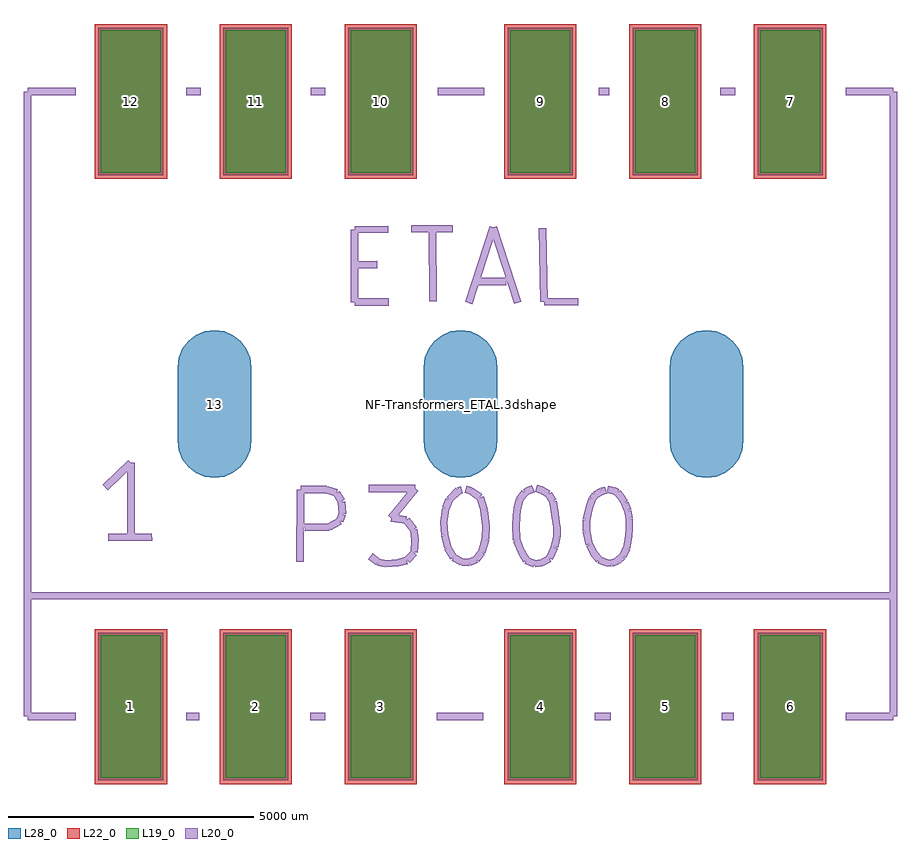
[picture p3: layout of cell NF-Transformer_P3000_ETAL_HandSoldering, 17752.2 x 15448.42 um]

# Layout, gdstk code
import gdstk
lib = gdstk.Library(unit=1e-6, precision=1e-09)
def R(c, l, rs):  # rectangles x0, y0, x1, y1
    for r in rs: c.add(gdstk.rectangle(r[:2], r[2:], *l))
def A(c, l, x, y, w, h, nx, ny, dx, dy):  # array of equal rectangles
    R(c, l, [(x+i*dx, y+j*dy, x+i*dx+w, y+j*dy+h) for i in range(nx) for j in range(ny)])
def P(c, l, *ps):  # polygons
    for p in ps: c.add(gdstk.Polygon(p, *l))
L19_0 = (19, 0)
L20_0 = (20, 0)
L22_0 = (22, 0)
L28_0 = (28, 0)

nf_transformer_p3000_eta = lib.new_cell('NF-Transformer_P3000_ETAL_HandSoldering')
A(nf_transformer_p3000_eta, L19_0, -7310.92, -7599.21, 1220.8, 2899.74, 3, 2, 2540, 12298.68)
A(nf_transformer_p3000_eta, L19_0, 1010.12, -7599.21, 1220.8, 2899.74, 3, 2, 2540, 12298.68)
A(nf_transformer_p3000_eta, L22_0, -7435.92, -7724.21, 1470.8, 3149.74, 3, 2, 2540, 12298.68)
A(nf_transformer_p3000_eta, L22_0, 885.12, -7724.21, 1470.8, 3149.74, 3, 2, 2540, 12298.68)
A(nf_transformer_p3000_eta, L28_0, -7360.92, -7649.21, 1320.8, 2999.74, 3, 2, 2540, 12298.68)
A(nf_transformer_p3000_eta, L28_0, 960.12, -7649.21, 1320.8, 2999.74, 3, 2, 2540, 12298.68)
P(nf_transformer_p3000_eta, L28_0, [(5001.26,-1499.87),(5195.522,-1474.295),(5376.545,-1399.313),(5531.993,-1280.033),(5651.273,-1124.585),(5726.255,-943.562),(5751.83,-749.3),(5751.83,749.3),(5726.255,943.562),(5651.273,1124.585),(5531.993,1280.033),(5376.545,1399.313),(5195.522,1474.295),(5001.26,1499.87),(4806.998,1474.295),(4625.975,1399.313),(4470.527,1280.033),(4351.247,1124.585),(4276.265,943.562),(4250.69,749.3),(4250.69,-749.3),(4276.265,-943.562),(4351.247,-1124.585),(4470.527,-1280.033),(4625.975,-1399.313),(4806.998,-1474.295)],
  [(0,-1499.87),(194.262,-1474.295),(375.285,-1399.313),(530.733,-1280.033),(650.013,-1124.585),(724.995,-943.562),(750.57,-749.3),(750.57,749.3),(724.995,943.562),(650.013,1124.585),(530.733,1280.033),(375.285,1399.313),(194.262,1474.295),(0,1499.87),(-194.262,1474.295),(-375.285,1399.313),(-530.733,1280.033),(-650.013,1124.585),(-724.995,943.562),(-750.57,749.3),(-750.57,-749.3),(-724.995,-943.562),(-650.013,-1124.585),(-530.733,-1280.033),(-375.285,-1399.313),(-194.262,-1474.295)],
  [(-5001.26,-1499.87),(-4806.998,-1474.295),(-4625.975,-1399.313),(-4470.527,-1280.033),(-4351.247,-1124.585),(-4276.265,-943.562),(-4250.69,-749.3),(-4250.69,749.3),(-4276.265,943.562),(-4351.247,1124.585),(-4470.527,1280.033),(-4625.975,1399.313),(-4806.998,1474.295),(-5001.26,1499.87),(-5195.522,1474.295),(-5376.545,1399.313),(-5531.993,1280.033),(-5651.273,1124.585),(-5726.255,943.562),(-5751.83,749.3),(-5751.83,-749.3),(-5726.255,-943.562),(-5651.273,-1124.585),(-5531.993,-1280.033),(-5376.545,-1399.313),(-5195.522,-1474.295)])
nf_transformer_p3000_eta.add(gdstk.FlexPath([(8801.1,6350),(8801.1,-6350)], 149.998, ends="flush", simple_path=True, layer=20, datatype=0))  # L20_0
nf_transformer_p3000_eta.add(gdstk.FlexPath([(8801.1,-6350),(7830.82,-6350)], 149.998, ends="flush", simple_path=True, layer=20, datatype=0))  # L20_0
nf_transformer_p3000_eta.add(gdstk.FlexPath([(8801.1,6350),(7830.82,6350)], 149.998, ends="flush", simple_path=True, layer=20, datatype=0))  # L20_0
nf_transformer_p3000_eta.add(gdstk.FlexPath([(5549.9,-6350),(5311.14,-6350)], 149.998, ends="flush", simple_path=True, layer=20, datatype=0))  # L20_0
nf_transformer_p3000_eta.add(gdstk.FlexPath([(3050.54,-6350),(2730.5,-6350)], 149.998, ends="flush", simple_path=True, layer=20, datatype=0))  # L20_0
nf_transformer_p3000_eta.add(gdstk.FlexPath([(459.74,-6350),(-480.06,-6350)], 149.998, ends="flush", simple_path=True, layer=20, datatype=0))  # L20_0
nf_transformer_p3000_eta.add(gdstk.FlexPath([(-2750.82,-6350),(-3050.54,-6350)], 149.998, ends="flush", simple_path=True, layer=20, datatype=0))  # L20_0
nf_transformer_p3000_eta.add(gdstk.FlexPath([(-5311.14,-6350),(-5570.22,-6350)], 149.998, ends="flush", simple_path=True, layer=20, datatype=0))  # L20_0
nf_transformer_p3000_eta.add(gdstk.FlexPath([(-7820.66,-6350),(-8801.1,-6350)], 149.998, ends="flush", simple_path=True, layer=20, datatype=0))  # L20_0
nf_transformer_p3000_eta.add(gdstk.FlexPath([(-8801.1,-6350),(-8801.1,6350)], 149.998, ends="flush", simple_path=True, layer=20, datatype=0))  # L20_0
nf_transformer_p3000_eta.add(gdstk.FlexPath([(-8801.1,6350),(-7820.66,6350)], 149.998, ends="flush", simple_path=True, layer=20, datatype=0))  # L20_0
nf_transformer_p3000_eta.add(gdstk.FlexPath([(-5570.22,6350),(-5280.66,6350)], 149.998, ends="flush", simple_path=True, layer=20, datatype=0))  # L20_0
nf_transformer_p3000_eta.add(gdstk.FlexPath([(-3040.38,6350),(-2750.82,6350)], 149.998, ends="flush", simple_path=True, layer=20, datatype=0))  # L20_0
nf_transformer_p3000_eta.add(gdstk.FlexPath([(-459.74,6350),(480.06,6350)], 149.998, ends="flush", simple_path=True, layer=20, datatype=0))  # L20_0
nf_transformer_p3000_eta.add(gdstk.FlexPath([(2809.24,6350),(3020.06,6350)], 149.998, ends="flush", simple_path=True, layer=20, datatype=0))  # L20_0
nf_transformer_p3000_eta.add(gdstk.FlexPath([(5280.66,6350),(5580.38,6350)], 149.998, ends="flush", simple_path=True, layer=20, datatype=0))  # L20_0
nf_transformer_p3000_eta.add(gdstk.FlexPath([(8801.1,-3898.9),(-8801.1,-3898.9)], 149.998, ends="flush", simple_path=True, layer=20, datatype=0))  # L20_0
nf_transformer_p3000_eta.add(gdstk.FlexPath([(-2151.38,2070.1),(-1460.5,2070.1)], 149.998, ends="flush", simple_path=True, layer=20, datatype=0))  # L20_0
nf_transformer_p3000_eta.add(gdstk.FlexPath([(-2151.38,3540.76),(-2151.38,2070.1)], 149.998, ends="flush", simple_path=True, layer=20, datatype=0))  # L20_0
nf_transformer_p3000_eta.add(gdstk.FlexPath([(-1470.66,3550.92),(-2151.38,3540.76)], 149.998, ends="flush", simple_path=True, layer=20, datatype=0))  # L20_0
nf_transformer_p3000_eta.add(gdstk.FlexPath([(-2151.38,2821.94),(-1691.64,2832.1)], 149.998, ends="flush", simple_path=True, layer=20, datatype=0))  # L20_0
nf_transformer_p3000_eta.add(gdstk.FlexPath([(-1000.76,3561.08),(-160.02,3561.08)], 149.998, ends="flush", simple_path=True, layer=20, datatype=0))  # L20_0
nf_transformer_p3000_eta.add(gdstk.FlexPath([(-571.5,3550.92),(-561.34,2090.42)], 149.998, ends="flush", simple_path=True, layer=20, datatype=0))  # L20_0
nf_transformer_p3000_eta.add(gdstk.FlexPath([(668.02,3591.56),(1168.4,2059.94)], 149.998, ends="flush", simple_path=True, layer=20, datatype=0))  # L20_0
nf_transformer_p3000_eta.add(gdstk.FlexPath([(170.18,2052.32),(668.02,3591.56)], 149.998, ends="flush", simple_path=True, layer=20, datatype=0))  # L20_0
nf_transformer_p3000_eta.add(gdstk.FlexPath([(340.36,2491.74),(929.64,2491.74)], 149.998, ends="flush", simple_path=True, layer=20, datatype=0))  # L20_0
nf_transformer_p3000_eta.add(gdstk.FlexPath([(1699.26,2080.26),(2390.14,2070.1)], 149.998, ends="flush", simple_path=True, layer=20, datatype=0))  # L20_0
nf_transformer_p3000_eta.add(gdstk.FlexPath([(1668.78,3571.24),(1699.26,2080.26)], 149.998, ends="flush", simple_path=True, layer=20, datatype=0))  # L20_0
nf_transformer_p3000_eta.add(gdstk.FlexPath([(-2669.54,-2499.36),(-3169.92,-2509.52)], 149.998, ends="flush", simple_path=True, layer=20, datatype=0))  # L20_0
nf_transformer_p3000_eta.add(gdstk.FlexPath([(-2451.1,-2379.98),(-2669.54,-2499.36)], 149.998, ends="flush", simple_path=True, layer=20, datatype=0))  # L20_0
nf_transformer_p3000_eta.add(gdstk.FlexPath([(-2400.3,-2240.28),(-2451.1,-2379.98)], 149.998, ends="flush", simple_path=True, layer=20, datatype=0))  # L20_0
nf_transformer_p3000_eta.add(gdstk.FlexPath([(-2420.62,-1978.66),(-2400.3,-2240.28)], 149.998, ends="flush", simple_path=True, layer=20, datatype=0))  # L20_0
nf_transformer_p3000_eta.add(gdstk.FlexPath([(-2519.68,-1808.48),(-2420.62,-1978.66)], 149.998, ends="flush", simple_path=True, layer=20, datatype=0))  # L20_0
nf_transformer_p3000_eta.add(gdstk.FlexPath([(-2720.34,-1739.9),(-2519.68,-1808.48)], 149.998, ends="flush", simple_path=True, layer=20, datatype=0))  # L20_0
nf_transformer_p3000_eta.add(gdstk.FlexPath([(-3251.2,-1739.9),(-2720.34,-1739.9)], 149.998, ends="flush", simple_path=True, layer=20, datatype=0))  # L20_0
nf_transformer_p3000_eta.add(gdstk.FlexPath([(-3261.36,-3208.02),(-3251.2,-1739.9)], 149.998, ends="flush", simple_path=True, layer=20, datatype=0))  # L20_0
nf_transformer_p3000_eta.add(gdstk.FlexPath([(-1671.32,-3218.18),(-1831.34,-3098.8)], 149.998, ends="flush", simple_path=True, layer=20, datatype=0))  # L20_0
nf_transformer_p3000_eta.add(gdstk.FlexPath([(-1511.3,-3248.66),(-1671.32,-3218.18)], 149.998, ends="flush", simple_path=True, layer=20, datatype=0))  # L20_0
nf_transformer_p3000_eta.add(gdstk.FlexPath([(-1270,-3228.34),(-1511.3,-3248.66)], 149.998, ends="flush", simple_path=True, layer=20, datatype=0))  # L20_0
nf_transformer_p3000_eta.add(gdstk.FlexPath([(-1089.66,-3180.08),(-1270,-3228.34)], 149.998, ends="flush", simple_path=True, layer=20, datatype=0))  # L20_0
nf_transformer_p3000_eta.add(gdstk.FlexPath([(-939.8,-3020.06),(-1089.66,-3180.08)], 149.998, ends="flush", simple_path=True, layer=20, datatype=0))  # L20_0
nf_transformer_p3000_eta.add(gdstk.FlexPath([(-922.02,-2758.44),(-939.8,-3020.06)], 149.998, ends="flush", simple_path=True, layer=20, datatype=0))  # L20_0
nf_transformer_p3000_eta.add(gdstk.FlexPath([(-949.96,-2550.16),(-922.02,-2758.44)], 149.998, ends="flush", simple_path=True, layer=20, datatype=0))  # L20_0
nf_transformer_p3000_eta.add(gdstk.FlexPath([(-1099.82,-2359.66),(-949.96,-2550.16)], 149.998, ends="flush", simple_path=True, layer=20, datatype=0))  # L20_0
nf_transformer_p3000_eta.add(gdstk.FlexPath([(-1409.7,-2319.02),(-1099.82,-2359.66)], 149.998, ends="flush", simple_path=True, layer=20, datatype=0))  # L20_0
nf_transformer_p3000_eta.add(gdstk.FlexPath([(-922.02,-1719.58),(-1409.7,-2319.02)], 149.998, ends="flush", simple_path=True, layer=20, datatype=0))  # L20_0
nf_transformer_p3000_eta.add(gdstk.FlexPath([(-1861.82,-1719.58),(-922.02,-1719.58)], 149.998, ends="flush", simple_path=True, layer=20, datatype=0))  # L20_0
nf_transformer_p3000_eta.add(gdstk.FlexPath([(-40.64,-1760.22),(27.94,-1739.9)], 149.998, ends="flush", simple_path=True, layer=20, datatype=0))  # L20_0
nf_transformer_p3000_eta.add(gdstk.FlexPath([(-231.14,-1948.18),(-40.64,-1760.22)], 149.998, ends="flush", simple_path=True, layer=20, datatype=0))  # L20_0
nf_transformer_p3000_eta.add(gdstk.FlexPath([(-299.72,-2118.36),(-231.14,-1948.18)], 149.998, ends="flush", simple_path=True, layer=20, datatype=0))  # L20_0
nf_transformer_p3000_eta.add(gdstk.FlexPath([(-340.36,-2400.3),(-299.72,-2118.36)], 149.998, ends="flush", simple_path=True, layer=20, datatype=0))  # L20_0
nf_transformer_p3000_eta.add(gdstk.FlexPath([(-320.04,-2659.38),(-340.36,-2400.3)], 149.998, ends="flush", simple_path=True, layer=20, datatype=0))  # L20_0
nf_transformer_p3000_eta.add(gdstk.FlexPath([(-261.62,-2918.46),(-320.04,-2659.38)], 149.998, ends="flush", simple_path=True, layer=20, datatype=0))  # L20_0
nf_transformer_p3000_eta.add(gdstk.FlexPath([(-139.7,-3119.12),(-261.62,-2918.46)], 149.998, ends="flush", simple_path=True, layer=20, datatype=0))  # L20_0
nf_transformer_p3000_eta.add(gdstk.FlexPath([(27.94,-3208.02),(-139.7,-3119.12)], 149.998, ends="flush", simple_path=True, layer=20, datatype=0))  # L20_0
nf_transformer_p3000_eta.add(gdstk.FlexPath([(180.34,-3218.18),(27.94,-3208.02)], 149.998, ends="flush", simple_path=True, layer=20, datatype=0))  # L20_0
nf_transformer_p3000_eta.add(gdstk.FlexPath([(320.04,-3159.76),(180.34,-3218.18)], 149.998, ends="flush", simple_path=True, layer=20, datatype=0))  # L20_0
nf_transformer_p3000_eta.add(gdstk.FlexPath([(429.26,-3009.9),(320.04,-3159.76)], 149.998, ends="flush", simple_path=True, layer=20, datatype=0))  # L20_0
nf_transformer_p3000_eta.add(gdstk.FlexPath([(508,-2748.28),(429.26,-3009.9)], 149.998, ends="flush", simple_path=True, layer=20, datatype=0))  # L20_0
nf_transformer_p3000_eta.add(gdstk.FlexPath([(518.16,-2468.88),(508,-2748.28)], 149.998, ends="flush", simple_path=True, layer=20, datatype=0))  # L20_0
nf_transformer_p3000_eta.add(gdstk.FlexPath([(480.06,-2159),(518.16,-2468.88)], 149.998, ends="flush", simple_path=True, layer=20, datatype=0))  # L20_0
nf_transformer_p3000_eta.add(gdstk.FlexPath([(398.78,-1899.92),(480.06,-2159)], 149.998, ends="flush", simple_path=True, layer=20, datatype=0))  # L20_0
nf_transformer_p3000_eta.add(gdstk.FlexPath([(208.28,-1760.22),(398.78,-1899.92)], 149.998, ends="flush", simple_path=True, layer=20, datatype=0))  # L20_0
nf_transformer_p3000_eta.add(gdstk.FlexPath([(109.22,-1729.74),(208.28,-1760.22)], 149.998, ends="flush", simple_path=True, layer=20, datatype=0))  # L20_0
nf_transformer_p3000_eta.add(gdstk.FlexPath([(1399.54,-1750.06),(1478.28,-1719.58)], 149.998, ends="flush", simple_path=True, layer=20, datatype=0))  # L20_0
nf_transformer_p3000_eta.add(gdstk.FlexPath([(1308.1,-1798.32),(1399.54,-1750.06)], 149.998, ends="flush", simple_path=True, layer=20, datatype=0))  # L20_0
nf_transformer_p3000_eta.add(gdstk.FlexPath([(1198.88,-1948.18),(1308.1,-1798.32)], 149.998, ends="flush", simple_path=True, layer=20, datatype=0))  # L20_0
nf_transformer_p3000_eta.add(gdstk.FlexPath([(1148.08,-2148.84),(1198.88,-1948.18)], 149.998, ends="flush", simple_path=True, layer=20, datatype=0))  # L20_0
nf_transformer_p3000_eta.add(gdstk.FlexPath([(1130.3,-2458.72),(1148.08,-2148.84)], 149.998, ends="flush", simple_path=True, layer=20, datatype=0))  # L20_0
nf_transformer_p3000_eta.add(gdstk.FlexPath([(1140.46,-2768.6),(1130.3,-2458.72)], 149.998, ends="flush", simple_path=True, layer=20, datatype=0))  # L20_0
nf_transformer_p3000_eta.add(gdstk.FlexPath([(1229.36,-2989.58),(1140.46,-2768.6)], 149.998, ends="flush", simple_path=True, layer=20, datatype=0))  # L20_0
nf_transformer_p3000_eta.add(gdstk.FlexPath([(1338.58,-3180.08),(1229.36,-2989.58)], 149.998, ends="flush", simple_path=True, layer=20, datatype=0))  # L20_0
nf_transformer_p3000_eta.add(gdstk.FlexPath([(1508.76,-3248.66),(1338.58,-3180.08)], 149.998, ends="flush", simple_path=True, layer=20, datatype=0))  # L20_0
nf_transformer_p3000_eta.add(gdstk.FlexPath([(1658.62,-3228.34),(1508.76,-3248.66)], 149.998, ends="flush", simple_path=True, layer=20, datatype=0))  # L20_0
nf_transformer_p3000_eta.add(gdstk.FlexPath([(1808.48,-3139.44),(1658.62,-3228.34)], 149.998, ends="flush", simple_path=True, layer=20, datatype=0))  # L20_0
nf_transformer_p3000_eta.add(gdstk.FlexPath([(1910.08,-2908.3),(1808.48,-3139.44)], 149.998, ends="flush", simple_path=True, layer=20, datatype=0))  # L20_0
nf_transformer_p3000_eta.add(gdstk.FlexPath([(1958.34,-2710.18),(1910.08,-2908.3)], 149.998, ends="flush", simple_path=True, layer=20, datatype=0))  # L20_0
nf_transformer_p3000_eta.add(gdstk.FlexPath([(1958.34,-2499.36),(1958.34,-2710.18)], 149.998, ends="flush", simple_path=True, layer=20, datatype=0))  # L20_0
nf_transformer_p3000_eta.add(gdstk.FlexPath([(1920.24,-2240.28),(1958.34,-2499.36)], 149.998, ends="flush", simple_path=True, layer=20, datatype=0))  # L20_0
nf_transformer_p3000_eta.add(gdstk.FlexPath([(1879.6,-1978.66),(1920.24,-2240.28)], 149.998, ends="flush", simple_path=True, layer=20, datatype=0))  # L20_0
nf_transformer_p3000_eta.add(gdstk.FlexPath([(1788.16,-1828.8),(1879.6,-1978.66)], 149.998, ends="flush", simple_path=True, layer=20, datatype=0))  # L20_0
nf_transformer_p3000_eta.add(gdstk.FlexPath([(1628.14,-1739.9),(1788.16,-1828.8)], 149.998, ends="flush", simple_path=True, layer=20, datatype=0))  # L20_0
nf_transformer_p3000_eta.add(gdstk.FlexPath([(1539.24,-1709.42),(1628.14,-1739.9)], 149.998, ends="flush", simple_path=True, layer=20, datatype=0))  # L20_0
nf_transformer_p3000_eta.add(gdstk.FlexPath([(2870.2,-1778),(2959.1,-1750.06)], 149.998, ends="flush", simple_path=True, layer=20, datatype=0))  # L20_0
nf_transformer_p3000_eta.add(gdstk.FlexPath([(2738.12,-1849.12),(2870.2,-1778)], 149.998, ends="flush", simple_path=True, layer=20, datatype=0))  # L20_0
nf_transformer_p3000_eta.add(gdstk.FlexPath([(2679.7,-1930.4),(2738.12,-1849.12)], 149.998, ends="flush", simple_path=True, layer=20, datatype=0))  # L20_0
nf_transformer_p3000_eta.add(gdstk.FlexPath([(2618.74,-2108.2),(2679.7,-1930.4)], 149.998, ends="flush", simple_path=True, layer=20, datatype=0))  # L20_0
nf_transformer_p3000_eta.add(gdstk.FlexPath([(2560.32,-2349.5),(2618.74,-2108.2)], 149.998, ends="flush", simple_path=True, layer=20, datatype=0))  # L20_0
nf_transformer_p3000_eta.add(gdstk.FlexPath([(2560.32,-2588.26),(2560.32,-2349.5)], 149.998, ends="flush", simple_path=True, layer=20, datatype=0))  # L20_0
nf_transformer_p3000_eta.add(gdstk.FlexPath([(2618.74,-2860.04),(2560.32,-2588.26)], 149.998, ends="flush", simple_path=True, layer=20, datatype=0))  # L20_0
nf_transformer_p3000_eta.add(gdstk.FlexPath([(2700.02,-3020.06),(2618.74,-2860.04)], 149.998, ends="flush", simple_path=True, layer=20, datatype=0))  # L20_0
nf_transformer_p3000_eta.add(gdstk.FlexPath([(2819.4,-3169.92),(2700.02,-3020.06)], 149.998, ends="flush", simple_path=True, layer=20, datatype=0))  # L20_0
nf_transformer_p3000_eta.add(gdstk.FlexPath([(2969.26,-3228.34),(2819.4,-3169.92)], 149.998, ends="flush", simple_path=True, layer=20, datatype=0))  # L20_0
nf_transformer_p3000_eta.add(gdstk.FlexPath([(3068.32,-3238.5),(2969.26,-3228.34)], 149.998, ends="flush", simple_path=True, layer=20, datatype=0))  # L20_0
nf_transformer_p3000_eta.add(gdstk.FlexPath([(3190.24,-3190.24),(3068.32,-3238.5)], 149.998, ends="flush", simple_path=True, layer=20, datatype=0))  # L20_0
nf_transformer_p3000_eta.add(gdstk.FlexPath([(3299.46,-3088.64),(3190.24,-3190.24)], 149.998, ends="flush", simple_path=True, layer=20, datatype=0))  # L20_0
nf_transformer_p3000_eta.add(gdstk.FlexPath([(3378.2,-2928.62),(3299.46,-3088.64)], 149.998, ends="flush", simple_path=True, layer=20, datatype=0))  # L20_0
nf_transformer_p3000_eta.add(gdstk.FlexPath([(3418.84,-2689.86),(3378.2,-2928.62)], 149.998, ends="flush", simple_path=True, layer=20, datatype=0))  # L20_0
nf_transformer_p3000_eta.add(gdstk.FlexPath([(3429,-2519.68),(3418.84,-2689.86)], 149.998, ends="flush", simple_path=True, layer=20, datatype=0))  # L20_0
nf_transformer_p3000_eta.add(gdstk.FlexPath([(3429,-2329.18),(3429,-2519.68)], 149.998, ends="flush", simple_path=True, layer=20, datatype=0))  # L20_0
nf_transformer_p3000_eta.add(gdstk.FlexPath([(3398.52,-2169.16),(3429,-2329.18)], 149.998, ends="flush", simple_path=True, layer=20, datatype=0))  # L20_0
nf_transformer_p3000_eta.add(gdstk.FlexPath([(3340.1,-2009.14),(3398.52,-2169.16)], 149.998, ends="flush", simple_path=True, layer=20, datatype=0))  # L20_0
nf_transformer_p3000_eta.add(gdstk.FlexPath([(3248.66,-1869.44),(3340.1,-2009.14)], 149.998, ends="flush", simple_path=True, layer=20, datatype=0))  # L20_0
nf_transformer_p3000_eta.add(gdstk.FlexPath([(3190.24,-1798.32),(3248.66,-1869.44)], 149.998, ends="flush", simple_path=True, layer=20, datatype=0))  # L20_0
nf_transformer_p3000_eta.add(gdstk.FlexPath([(3108.96,-1760.22),(3190.24,-1798.32)], 149.998, ends="flush", simple_path=True, layer=20, datatype=0))  # L20_0
nf_transformer_p3000_eta.add(gdstk.FlexPath([(2989.58,-1729.74),(3108.96,-1760.22)], 149.998, ends="flush", simple_path=True, layer=20, datatype=0))  # L20_0
nf_transformer_p3000_eta.add(gdstk.FlexPath([(-6700.52,-1198.88),(-6700.52,-2720.34)], 149.998, ends="flush", simple_path=True, layer=20, datatype=0))  # L20_0
nf_transformer_p3000_eta.add(gdstk.FlexPath([(-7221.22,-1699.26),(-6700.52,-1198.88)], 149.998, ends="flush", simple_path=True, layer=20, datatype=0))  # L20_0
nf_transformer_p3000_eta.add(gdstk.FlexPath([(-7160.26,-2710.18),(-6271.26,-2700.02)], 149.998, ends="flush", simple_path=True, layer=20, datatype=0))  # L20_0
nf_transformer_p3000_eta.add(gdstk.Label('NF-Transformers_ETAL.3dshapes/NF-Transformer_P3000_ETAL_HandSoldering.wrl', (0,0), layer=12, texttype=0))
nf_transformer_p3000_eta.add(gdstk.Label('12', (-6700.52,6149.34), layer=28, texttype=0))
nf_transformer_p3000_eta.add(gdstk.Label('11', (-4160.52,6149.34), layer=28, texttype=0))
nf_transformer_p3000_eta.add(gdstk.Label('10', (-1620.52,6149.34), layer=28, texttype=0))
nf_transformer_p3000_eta.add(gdstk.Label('9', (1620.52,6149.34), layer=28, texttype=0))
nf_transformer_p3000_eta.add(gdstk.Label('8', (4160.52,6149.34), layer=28, texttype=0))
nf_transformer_p3000_eta.add(gdstk.Label('7', (6700.52,6149.34), layer=28, texttype=0))
nf_transformer_p3000_eta.add(gdstk.Label('6', (6700.52,-6149.34), layer=28, texttype=0))
nf_transformer_p3000_eta.add(gdstk.Label('5', (4160.52,-6149.34), layer=28, texttype=0))
nf_transformer_p3000_eta.add(gdstk.Label('4', (1620.52,-6149.34), layer=28, texttype=0))
nf_transformer_p3000_eta.add(gdstk.Label('1', (-6700.52,-6149.34), layer=28, texttype=0))
nf_transformer_p3000_eta.add(gdstk.Label('2', (-4160.52,-6149.34), layer=28, texttype=0))
nf_transformer_p3000_eta.add(gdstk.Label('3', (-1620.52,-6149.34), layer=28, texttype=0))
nf_transformer_p3000_eta.add(gdstk.Label('13', (-5001.26,0), layer=28, texttype=0))
nf_transformer_p3000_eta.add(gdstk.Label('type', (0,-9999.98), layer=9, texttype=0))
nf_transformer_p3000_eta.add(gdstk.Label('devicename', (0,9999.98), layer=9, texttype=0))

lib.write_gds('NF-Transformer_P3000_ETAL_HandSoldering.gds')
